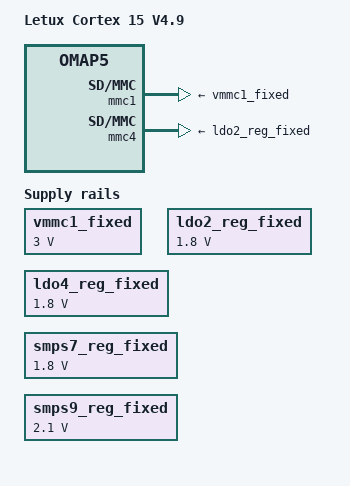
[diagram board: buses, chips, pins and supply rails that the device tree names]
/*
 * Copyright (C) 2015 Golden Delicous Computers - http://www.goldelico.com/
 *
 * This program is free software; you can redistribute it and/or modify
 * it under the terms of the GNU General Public License version 2 as
 * published by the Free Software Foundation.
 */

/* this version is for the Letux Cortex 15 CPU board (V4.9) */

#include "omap5-letux-cortex15-v5.0.dts"

/*
 * patches to work around a hardware bug
 * (broken broken OMAP5 <-> Palmas I2C1)
 * in the V4.9 prototype CPU board
 * the trick is to replace the regulators that
 * are not accessible by regulator-fixed
 */

/ {
	model = "Letux Cortex 15 V4.9";

	vmmc1_fixed: fixedregulator-mmc1 {
		compatible = "regulator-fixed";
		regulator-name = "vmmc1_fixed";
		regulator-min-microvolt = <3000000>;
		regulator-max-microvolt = <3000000>;
	};

	ldo2_reg_fixed: fixedregulator-ldo2 {
		compatible = "regulator-fixed";
		regulator-name = "ldo2";
		regulator-min-microvolt = <1800000>;
		regulator-max-microvolt = <1800000>;
	};

	ldo4_reg_fixed: fixedregulator-ldo4 {
		compatible = "regulator-fixed";
		regulator-name = "ldo4";
		regulator-min-microvolt = <1800000>;
		regulator-max-microvolt = <1800000>;
	};

	smps7_reg_fixed: fixedregulator-smps7 {
		compatible = "regulator-fixed";
		regulator-name = "smps7";
		regulator-min-microvolt = <1800000>;
		regulator-max-microvolt = <1800000>;
	};

	smps9_reg_fixed: fixedregulator-smps9 {
		compatible = "regulator-fixed";
		regulator-name = "smps9";
		regulator-min-microvolt = <2100000>;
		regulator-max-microvolt = <2100000>;
	};
};

&hdmi {
	vdda-supply = <&ldo4_reg_fixed>;
};

&dsi1 {
	vdd-supply = <&ldo4_reg_fixed>;
};

&twl6040 {
	status = "disabled";	/* can't work */
	vio-supply = <&smps7_reg_fixed>;
	v2v1-supply = <&smps9_reg_fixed>;
};

&mmc1 { /* first (u)SD slot */
	vmmc-supply = <&vmmc1_fixed>;	/* LDO9 is not working */
};

&mmc4 { /* second (u)SD slot (SDIO capable) */
	vmmc-supply = <&ldo2_reg_fixed>;	/* LDO2 is not working */
};
